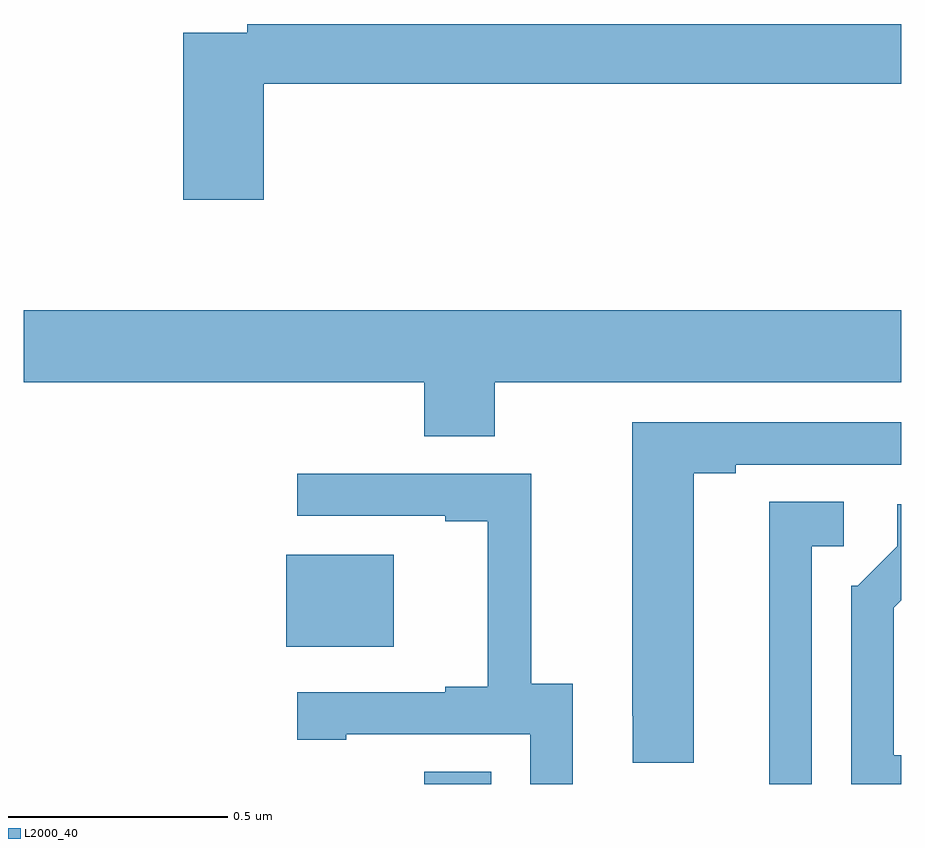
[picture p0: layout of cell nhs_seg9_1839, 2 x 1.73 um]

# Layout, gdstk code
import gdstk
lib = gdstk.Library(unit=1e-6, precision=1e-09)
def R(c, l, rs):  # rectangles x0, y0, x1, y1
    for r in rs: c.add(gdstk.rectangle(r[:2], r[2:], *l))
def P(c, l, *ps):  # polygons
    for p in ps: c.add(gdstk.Polygon(p, *l))
L2000_40 = (2000, 40)

nhs_seg9_1839 = lib.new_cell('nhs_seg9_1839')
R(nhs_seg9_1839, L2000_40, [(133.913,1199.5,134.065,1199.528), (133.598,1199.813,133.843,1200.022)])
P(nhs_seg9_1839, L2000_40, [(133.547,1201.096),(135,1201.096),(135,1201.232),(133.51,1201.232),(133.51,1201.212),(133.364,1201.212),(133.364,1200.831),(133.547,1200.831)],
  [(134.073,1200.416),(135,1200.416),(135,1200.58),(133,1200.58),(133,1200.416),(133.913,1200.416),(133.913,1200.292),(134.073,1200.292)],
  [(134.527,1200.208),(134.623,1200.208),(134.623,1200.228),(135,1200.228),(135,1200.324),(134.387,1200.324),(134.387,1199.656),(134.388,1199.656),(134.388,1199.548),(134.527,1199.548)],
  [(134.251,1199.729),(134.157,1199.729),(134.157,1200.207),(133.623,1200.207),(133.623,1200.111),(133.961,1200.111),(133.961,1200.099),(134.057,1200.099),(134.057,1199.722),(133.961,1199.722),(133.961,1199.709),(133.623,1199.709),(133.623,1199.601),(133.735,1199.601),(133.735,1199.613),(134.154,1199.613),(134.154,1199.5),(134.251,1199.5)],
  [(134.796,1200.042),(134.869,1200.042),(134.869,1200.143),(134.699,1200.143),(134.699,1199.5),(134.796,1199.5)],
  [(135,1199.566),(134.983,1199.566),(134.983,1199.902),(135,1199.919),(135,1200.138),(134.991,1200.138),(134.991,1200.042),(134.901,1199.952),(134.886,1199.952),(134.886,1199.5),(135,1199.5)])

lib.write_gds('nhs_seg9_1839.gds')
